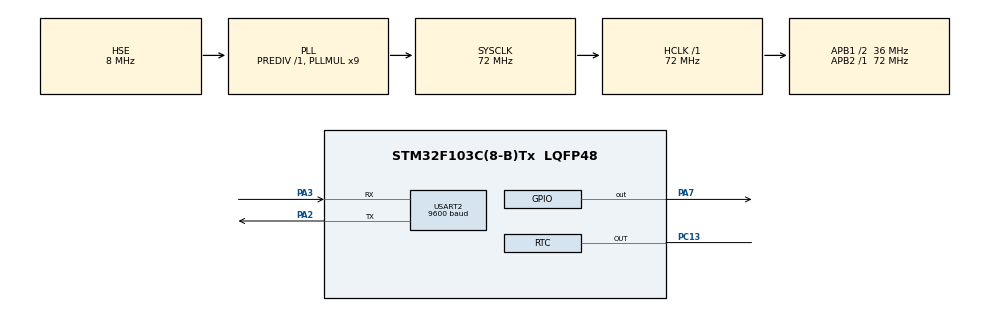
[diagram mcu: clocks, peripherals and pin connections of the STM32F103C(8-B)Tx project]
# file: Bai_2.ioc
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FREERTOS.Tasks01=Task_UART,16,128,StartTask_UART,Default,NULL,Dynamic,NULL,NULL;TaskTime,24,128,StartTaskTime,Default,NULL,Dynamic,NULL,NULL
Mcu.Family=STM32F1
Mcu.Name=STM32F103C(8-B)Tx
Mcu.Package=LQFP48
NVIC.PriorityGroup=NVIC_PRIORITYGROUP_4
NVIC.RTC_Alarm_IRQn=true\:5\:0\:false\:false\:true\:true\:true\:true
NVIC.USART2_IRQn=true\:5\:0\:false\:false\:true\:true\:true\:true
PA13.Mode=Serial_Wire
PA13.Signal=SYS_JTMS-SWDIO
PA14.Mode=Serial_Wire
PA14.Signal=SYS_JTCK-SWCLK
PA2.Mode=Asynchronous
PA2.Signal=USART2_TX
PA3.Mode=Asynchronous
PA3.Signal=USART2_RX
PA7.Signal=GPIO_Output
PC13-TAMPER-RTC.Mode=RTC OUT
PC13-TAMPER-RTC.Signal=RTC_OUT
PC14-OSC32_IN.Mode=LSE-External-Oscillator
PC14-OSC32_IN.Signal=RCC_OSC32_IN
PC15-OSC32_OUT.Mode=LSE-External-Oscillator
PC15-OSC32_OUT.Signal=RCC_OSC32_OUT
PD0-OSC_IN.Mode=HSE-External-Oscillator
PD0-OSC_IN.Signal=RCC_OSC_IN
PD1-OSC_OUT.Mode=HSE-External-Oscillator
PD1-OSC_OUT.Signal=RCC_OSC_OUT
ProjectManager.HeapSize=0x200
ProjectManager.StackSize=0x400
ProjectManager.TargetToolchain=MDK-ARM V5.27
RCC.AHBFreq_Value=72000000
RCC.APB1CLKDivider=RCC_HCLK_DIV2
RCC.APB1Freq_Value=36000000
RCC.APB1TimFreq_Value=72000000
RCC.APB2Freq_Value=72000000
RCC.APB2TimFreq_Value=72000000
RCC.HCLKFreq_Value=72000000
RCC.PLLMUL=RCC_PLL_MUL9
RCC.PLLSourceVirtual=RCC_PLLSOURCE_HSE
RCC.SYSCLKFreq_VALUE=72000000
RCC.SYSCLKSource=RCC_SYSCLKSOURCE_PLLCLK
RCC.USBFreq_Value=72000000
RTC.Date=13
RTC.Format=RTC_FORMAT_BIN
RTC.Month=RTC_MONTH_MAY
RTC.WeekDay=RTC_WEEKDAY_FRIDAY
RTC.Year=22
USART2.BaudRate=9600
USART2.VirtualMode=VM_ASYNC
VP_FREERTOS_VS_CMSIS_V2.Mode=CMSIS_V2
VP_RTC_VS_RTC_Activate.Mode=RTC_Enabled
VP_RTC_VS_RTC_Calendar.Mode=RTC_Calendar
board=custom

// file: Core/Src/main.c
/* USER CODE BEGIN Header */
/**
  ******************************************************************************
  * @file           : main.c
  * @brief          : Main program body
  ******************************************************************************
  * @attention
  *
  * <h2><center>&copy; Copyright (c) 2022 STMicroelectronics.
  * All rights reserved.</center></h2>
  *
  * This software component is licensed by ST under Ultimate Liberty license
  * SLA0044, the "License"; You may not use this file except in compliance with
  * the License. You may obtain a copy of the License at:
  *                             www.st.com/SLA0044
  *
  ******************************************************************************
  */
/* USER CODE END Header */
#include "main.h"
#include "cmsis_os.h"

/* USER CODE BEGIN Includes */
#include <stdio.h>
#include <string.h>
/* USER CODE END Includes */

RTC_HandleTypeDef hrtc;

UART_HandleTypeDef huart2;

/* Definitions for Task_UART */
osThreadId_t Task_UARTHandle;
const osThreadAttr_t Task_UART_attributes = {
  .name = "Task_UART",
  .stack_size = 128 * 4,
  .priority = (osPriority_t) osPriorityBelowNormal,
};
/* Definitions for TaskTime */
osThreadId_t TaskTimeHandle;
const osThreadAttr_t TaskTime_attributes = {
  .name = "TaskTime",
  .stack_size = 128 * 4,
  .priority = (osPriority_t) osPriorityNormal,
};

void SystemClock_Config(void);
static void MX_GPIO_Init(void);
static void MX_RTC_Init(void);
static void MX_USART2_UART_Init(void);
void StartTask_UART(void *argument);
void StartTaskTime(void *argument);

/* USER CODE BEGIN 0 */
char time[30];
RTC_TimeTypeDef sTime;
RTC_AlarmTypeDef sAlarm ;
/* USER CODE END 0 */

int main(void)
{

  /* MCU Configuration--------------------------------------------------------*/

  /* Reset of all peripherals, Initializes the Flash interface and the Systick. */
  HAL_Init();

  /* Configure the system clock */
  SystemClock_Config();

  /* Initialize all configured peripherals */
  MX_GPIO_Init();
  MX_RTC_Init();
  MX_USART2_UART_Init();

  /* Init scheduler */
  osKernelInitialize();

  /* Create the thread(s) */
  /* creation of Task_UART */
  Task_UARTHandle = osThreadNew(StartTask_UART, NULL, &Task_UART_attributes);

  /* creation of TaskTime */
  TaskTimeHandle = osThreadNew(StartTaskTime, NULL, &TaskTime_attributes);

  /* Start scheduler */
  osKernelStart();

  /* We should never get here as control is now taken by the scheduler */
  /* Infinite loop */
  while (1)
  {

  }
}

void SystemClock_Config(void)
{
  RCC_OscInitTypeDef RCC_OscInitStruct = {0};
  RCC_ClkInitTypeDef RCC_ClkInitStruct = {0};
  RCC_PeriphCLKInitTypeDef PeriphClkInit = {0};

  /** Initializes the RCC Oscillators according to the specified parameters
  * in the RCC_OscInitTypeDef structure.
  */
  RCC_OscInitStruct.OscillatorType = RCC_OSCILLATORTYPE_LSI|RCC_OSCILLATORTYPE_HSE;
  RCC_OscInitStruct.HSEState = RCC_HSE_ON;
  RCC_OscInitStruct.HSEPredivValue = RCC_HSE_PREDIV_DIV1;
  RCC_OscInitStruct.HSIState = RCC_HSI_ON;
  RCC_OscInitStruct.LSIState = RCC_LSI_ON;
  RCC_OscInitStruct.PLL.PLLState = RCC_PLL_ON;
  RCC_OscInitStruct.PLL.PLLSource = RCC_PLLSOURCE_HSE;
  RCC_OscInitStruct.PLL.PLLMUL = RCC_PLL_MUL9;
  if (HAL_RCC_OscConfig(&RCC_OscInitStruct) != HAL_OK)
  {
    Error_Handler();
  }
  /** Initializes the CPU, AHB and APB buses clocks
  */
  RCC_ClkInitStruct.ClockType = RCC_CLOCKTYPE_HCLK|RCC_CLOCKTYPE_SYSCLK
                              |RCC_CLOCKTYPE_PCLK1|RCC_CLOCKTYPE_PCLK2;
  RCC_ClkInitStruct.SYSCLKSource = RCC_SYSCLKSOURCE_PLLCLK;
  RCC_ClkInitStruct.AHBCLKDivider = RCC_SYSCLK_DIV1;
  RCC_ClkInitStruct.APB1CLKDivider = RCC_HCLK_DIV2;
  RCC_ClkInitStruct.APB2CLKDivider = RCC_HCLK_DIV1;

  if (HAL_RCC_ClockConfig(&RCC_ClkInitStruct, FLASH_LATENCY_2) != HAL_OK)
  {
    Error_Handler();
  }
  PeriphClkInit.PeriphClockSelection = RCC_PERIPHCLK_RTC;
  PeriphClkInit.RTCClockSelection = RCC_RTCCLKSOURCE_LSI;
  if (HAL_RCCEx_PeriphCLKConfig(&PeriphClkInit) != HAL_OK)
  {
    Error_Handler();
  }
}

static void MX_RTC_Init(void)
{

  RTC_TimeTypeDef sTime ;
  RTC_DateTypeDef DateToUpdate ;
  RTC_AlarmTypeDef sAlarm ;

  /** Initialize RTC Only
  */
  hrtc.Instance = RTC;
  hrtc.Init.AsynchPrediv = RTC_AUTO_1_SECOND;
  hrtc.Init.OutPut = RTC_OUTPUTSOURCE_ALARM;

  if (HAL_RTC_Init(&hrtc) != HAL_OK)
  {
    Error_Handler();
  }

  /** Initialize RTC and set the Time and Date
  */
	if(HAL_RTCEx_BKUPRead(&hrtc,RTC_BKP_DR1)!=0x32F2)
	{
  sTime.Hours = 11;
  sTime.Minutes = 59;
  sTime.Seconds = 0;

  if (HAL_RTC_SetTime(&hrtc, &sTime, RTC_FORMAT_BIN) != HAL_OK)
  {
    Error_Handler();
  }
  DateToUpdate.WeekDay = RTC_WEEKDAY_FRIDAY;
  DateToUpdate.Month = RTC_MONTH_MAY;
  DateToUpdate.Date = 13;
  DateToUpdate.Year = 22;

  if (HAL_RTC_SetDate(&hrtc, &DateToUpdate, RTC_FORMAT_BIN) != HAL_OK)
  {
    Error_Handler();
  }
  /** Enable the Alarm A
  */
  sAlarm.AlarmTime.Hours = 11;
  sAlarm.AlarmTime.Minutes = 59;
  sAlarm.AlarmTime.Seconds = 15;
  sAlarm.Alarm = RTC_ALARM_A;
  if (HAL_RTC_SetAlarm_IT(&hrtc, &sAlarm, RTC_FORMAT_BIN) != HAL_OK)
  {
    Error_Handler();
  }
  /* USER CODE BEGIN RTC_Init 2 */
	HAL_RTCEx_BKUPWrite(&hrtc,RTC_BKP_DR1,0x32F2);//
	}
  /* USER CODE END RTC_Init 2 */

}

static void MX_USART2_UART_Init(void)
{

  huart2.Instance = USART2;
  huart2.Init.BaudRate = 9600;
  huart2.Init.WordLength = UART_WORDLENGTH_8B;
  huart2.Init.StopBits = UART_STOPBITS_1;
  huart2.Init.Parity = UART_PARITY_NONE;
  huart2.Init.Mode = UART_MODE_TX_RX;
  huart2.Init.HwFlowCtl = UART_HWCONTROL_NONE;
  huart2.Init.OverSampling = UART_OVERSAMPLING_16;
  if (HAL_UART_Init(&huart2) != HAL_OK)
  {
    Error_Handler();
  }

}

static void MX_GPIO_Init(void)
{
  GPIO_InitTypeDef GPIO_InitStruct = {0};

  /* GPIO Ports Clock Enable */
  __HAL_RCC_GPIOC_CLK_ENABLE();
  __HAL_RCC_GPIOD_CLK_ENABLE();
  __HAL_RCC_GPIOA_CLK_ENABLE();

  /*Configure GPIO pin Output Level */
  HAL_GPIO_WritePin(GPIOA, GPIO_PIN_7, GPIO_PIN_RESET);

  /*Configure GPIO pin : PA7 */
  GPIO_InitStruct.Pin = GPIO_PIN_7;
  GPIO_InitStruct.Mode = GPIO_MODE_OUTPUT_PP;
  GPIO_InitStruct.Pull = GPIO_NOPULL;
  GPIO_InitStruct.Speed = GPIO_SPEED_FREQ_LOW;
  HAL_GPIO_Init(GPIOA, &GPIO_InitStruct);

}

/* USER CODE BEGIN 4 */
// ham bao khi den dung thoi gian
void HAL_RTC_AlarmAEventCallback(RTC_HandleTypeDef *hrtc)
{
	HAL_GPIO_WritePin(GPIOA,GPIO_PIN_7,GPIO_PIN_SET);//bat den
	uint8_t str_den[10]="den sang!\n";
	HAL_UART_Transmit(&huart2,(uint8_t *)&str_den,sizeof(str_den),300);
}
/* USER CODE END 4 */

void StartTask_UART(void *argument)
{
  /* USER CODE BEGIN 5 */
  /* Infinite loop */
  for(;;)
  {
		sprintf(time,"time: %02d.%02d.%02d\n",sTime.Hours,sTime.Minutes,sTime.Seconds);
		HAL_UART_Transmit(&huart2,(uint8_t *)time,sizeof(time),300);
    osDelay(1000);
  }
  /* USER CODE END 5 */
}

void StartTaskTime(void *argument)
{
  /* USER CODE BEGIN StartTaskTime */
  /* Infinite loop */
  for(;;)
  {
		HAL_RTC_GetTime(&hrtc,&sTime,RTC_FORMAT_BIN);
    osDelay(1000);
  }
  /* USER CODE END StartTaskTime */
}

void Error_Handler(void)
{
  __disable_irq();
  while (1)
  {
  }
}

/************************ (C) COPYRIGHT STMicroelectronics *****END OF FILE****/
